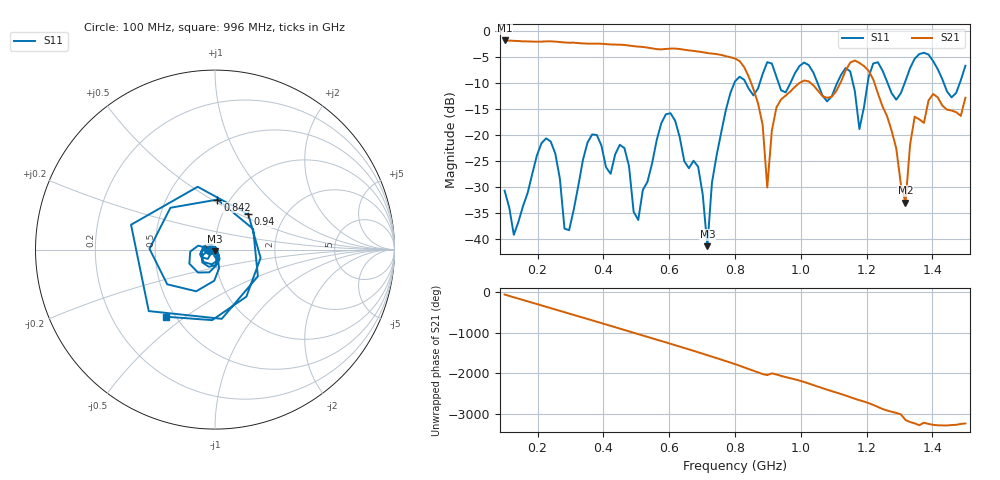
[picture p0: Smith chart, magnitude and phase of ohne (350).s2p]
! NanoVNA-App
! Date: 2025-09-25 14:23:31
! Start: 100MHz Stop: 1,5GHz Points: 101
! S-Parameter data: F S11 S21 S12 S22
# Hz S RI R 50
!  Frequency  S11_Real  S11_Imag  S21_Real  S21_Imag  S12_Real  S12_Imag  S22_Real  S22_Imag
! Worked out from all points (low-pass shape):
!   101 points, 100 MHz to 1.5 GHz, reference 50 ohm
!   highest |S21| = -1.79 dB at 100 MHz (marker M1); lowest = -32.9 dB at 1.318 GHz (marker M2)
!   |S21| within 3 dB of the highest: start of sweep to 771.2 MHz
!   lowest |S11| = -41.3 dB at 716 MHz (marker M3), VSWR 1.02, Z = 49.8 - j0.842 ohm
!   |S11| at or under -10 dB: start of sweep to 797.8 MHz; 833.2 MHz to 875.1 MHz (41.87 MHz wide, 4.9 % of centre); 1.051 GHz to 1.11 GHz (58.97 MHz wide, 5.46 % of centre) (the widest 3 of 7)
!   S12 and S22 are empty: the file has one direction only
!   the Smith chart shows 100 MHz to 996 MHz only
!   S11 on the Smith chart (normalised r, x): 100 MHz: 0.94, -0.01; 842 MHz: 0.88, +0.53; 940 MHz: 1.32, +0.56; 996 MHz: 0.45, -0.43
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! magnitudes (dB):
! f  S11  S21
! 100 MHz  -30.6  -1.8
! 128 MHz  -39.1  -1.9
! 226 MHz  -20.6  -2.0
! 296 MHz  -38.2  -2.2
! 338 MHz  -24.7  -2.4
! 464 MHz  -22.5  -2.7
! 506 MHz  -36.3  -3.0
! 576 MHz  -17.7  -3.5
! 688 MHz  -26.0  -3.9
! 716 MHz  -41.3  -4.2
! 800 MHz  -9.7  -5.3
! 842 MHz  -11.1  -8.8
! 898 MHz  -6.0  -30.0
! 940 MHz  -11.4  -13.1
! 996 MHz  -6.7  -10.0
! 1.038 GHz  -7.9  -10.4
! 1.178 GHz  -18.8  -6.1
! 1.22 GHz  -6.2  -9.3
! 1.276 GHz  -11.9  -19.2
! 1.318 GHz  -9.6  -32.9
! 1.346 GHz  -5.3  -16.4
! 1.5 GHz  -6.6  -12.8
